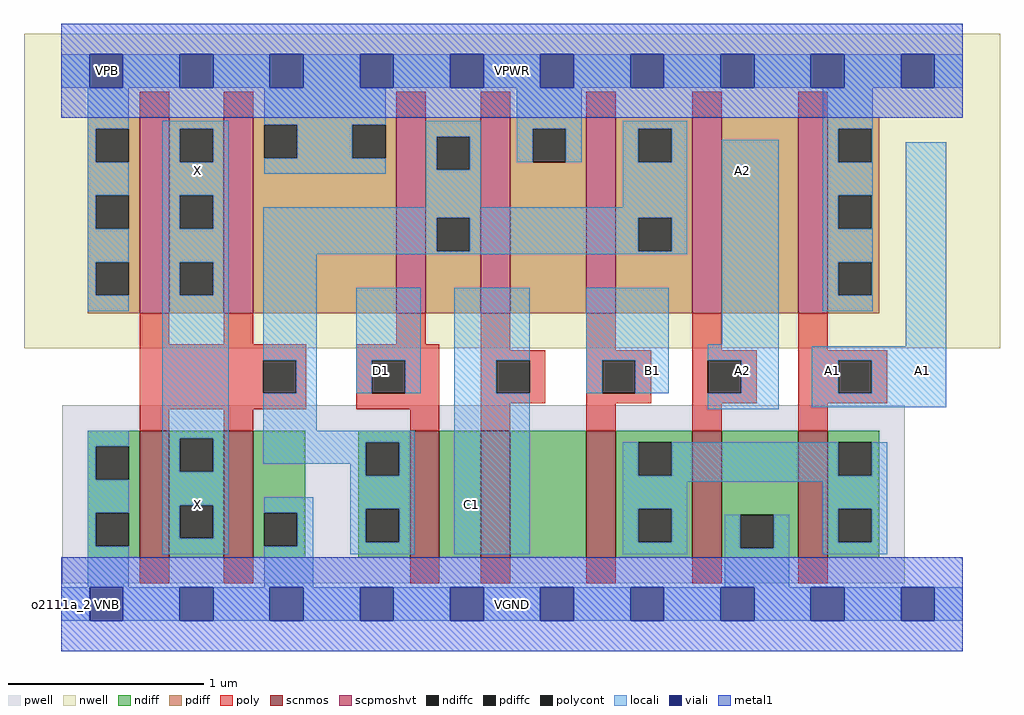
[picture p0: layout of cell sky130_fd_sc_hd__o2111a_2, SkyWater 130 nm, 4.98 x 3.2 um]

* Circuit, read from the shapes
.subckt sky130_fd_sc_hd__o2111a_2 A1 A2 B1 C1 D1 VGND VNB VPB VPWR X
XM1 X n1 VGND VNB sky130_fd_pr__nfet_01v8 w=0.65 l=0.15 m=2
XM2 n2 D1 n1 VNB sky130_fd_pr__nfet_01v8 w=0.65 l=0.15
XM3 n3 C1 n2 VNB sky130_fd_pr__nfet_01v8 w=0.65 l=0.15
XM4 n4 B1 n3 VNB sky130_fd_pr__nfet_01v8 w=0.65 l=0.15
XM5 VGND A2 n4 VNB sky130_fd_pr__nfet_01v8 w=0.65 l=0.15
XM6 n4 A1 VGND VNB sky130_fd_pr__nfet_01v8 w=0.65 l=0.15
XM7 X n1 VPWR VPB sky130_fd_pr__pfet_01v8_hvt w=1 l=0.15 m=2
XM8 n1 D1 VPWR VPB sky130_fd_pr__pfet_01v8_hvt w=1 l=0.15
XM9 VPWR C1 n1 VPB sky130_fd_pr__pfet_01v8_hvt w=1 l=0.15
XM10 n1 B1 VPWR VPB sky130_fd_pr__pfet_01v8_hvt w=1 l=0.15
XM11 n5 A2 n1 VPB sky130_fd_pr__pfet_01v8_hvt w=1 l=0.15
XM12 VPWR A1 n5 VPB sky130_fd_pr__pfet_01v8_hvt w=1 l=0.15
.ends

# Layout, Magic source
magic
tech sky130A
magscale 1 2
<< nwell >>
rect -38 261 958 582
<< pwell >>
rect 1 21 861 203
rect 30 -17 64 21
<< scnmos >>
rect 80 47 110 177
rect 166 47 196 177
rect 356 47 386 177
rect 428 47 458 177
rect 536 47 566 177
rect 644 47 674 177
rect 752 47 782 177
<< scpmoshvt >>
rect 80 297 110 497
rect 166 297 196 497
rect 342 297 372 497
rect 428 297 458 497
rect 536 297 566 497
rect 644 297 674 497
rect 752 297 782 497
<< ndiff >>
rect 27 161 80 177
rect 27 127 35 161
rect 69 127 80 161
rect 27 93 80 127
rect 27 59 35 93
rect 69 59 80 93
rect 27 47 80 59
rect 110 169 166 177
rect 110 135 121 169
rect 155 135 166 169
rect 110 101 166 135
rect 110 67 121 101
rect 155 67 166 101
rect 110 47 166 67
rect 196 93 249 177
rect 196 59 207 93
rect 241 59 249 93
rect 196 47 249 59
rect 303 165 356 177
rect 303 131 311 165
rect 345 131 356 165
rect 303 97 356 131
rect 303 63 311 97
rect 345 63 356 97
rect 303 47 356 63
rect 386 47 428 177
rect 458 47 536 177
rect 566 165 644 177
rect 566 131 589 165
rect 623 131 644 165
rect 566 97 644 131
rect 566 63 589 97
rect 623 63 644 97
rect 566 47 644 63
rect 674 91 752 177
rect 674 57 693 91
rect 727 57 752 91
rect 674 47 752 57
rect 782 165 835 177
rect 782 131 793 165
rect 827 131 835 165
rect 782 97 835 131
rect 782 63 793 97
rect 827 63 835 97
rect 782 47 835 63
<< pdiff >>
rect 27 485 80 497
rect 27 451 35 485
rect 69 451 80 485
rect 27 417 80 451
rect 27 383 35 417
rect 69 383 80 417
rect 27 349 80 383
rect 27 315 35 349
rect 69 315 80 349
rect 27 297 80 315
rect 110 485 166 497
rect 110 451 121 485
rect 155 451 166 485
rect 110 417 166 451
rect 110 383 121 417
rect 155 383 166 417
rect 110 349 166 383
rect 110 315 121 349
rect 155 315 166 349
rect 110 297 166 315
rect 196 489 342 497
rect 196 455 207 489
rect 241 455 297 489
rect 331 455 342 489
rect 196 297 342 455
rect 372 477 428 497
rect 372 443 383 477
rect 417 443 428 477
rect 372 394 428 443
rect 372 360 383 394
rect 417 360 428 394
rect 372 297 428 360
rect 458 485 536 497
rect 458 451 481 485
rect 515 451 536 485
rect 458 297 536 451
rect 566 485 644 497
rect 566 451 589 485
rect 623 451 644 485
rect 566 394 644 451
rect 566 360 589 394
rect 623 360 644 394
rect 566 297 644 360
rect 674 297 752 497
rect 782 485 835 497
rect 782 451 793 485
rect 827 451 835 485
rect 782 417 835 451
rect 782 383 793 417
rect 827 383 835 417
rect 782 349 835 383
rect 782 315 793 349
rect 827 315 835 349
rect 782 297 835 315
<< ndiffc >>
rect 35 127 69 161
rect 35 59 69 93
rect 121 135 155 169
rect 121 67 155 101
rect 207 59 241 93
rect 311 131 345 165
rect 311 63 345 97
rect 589 131 623 165
rect 589 63 623 97
rect 693 57 727 91
rect 793 131 827 165
rect 793 63 827 97
<< pdiffc >>
rect 35 451 69 485
rect 35 383 69 417
rect 35 315 69 349
rect 121 451 155 485
rect 121 383 155 417
rect 121 315 155 349
rect 207 455 241 489
rect 297 455 331 489
rect 383 443 417 477
rect 383 360 417 394
rect 481 451 515 485
rect 589 451 623 485
rect 589 360 623 394
rect 793 451 827 485
rect 793 383 827 417
rect 793 315 827 349
<< poly >>
rect 80 497 110 523
rect 166 497 196 523
rect 342 497 372 523
rect 428 497 458 523
rect 536 497 566 523
rect 644 497 674 523
rect 752 497 782 523
rect 80 265 110 297
rect 166 265 196 297
rect 342 265 372 297
rect 80 249 250 265
rect 80 215 206 249
rect 240 215 250 249
rect 80 199 250 215
rect 301 249 386 265
rect 301 215 317 249
rect 351 215 386 249
rect 301 199 386 215
rect 80 177 110 199
rect 166 177 196 199
rect 356 177 386 199
rect 428 259 458 297
rect 536 259 566 297
rect 644 259 674 297
rect 752 259 782 297
rect 428 249 494 259
rect 428 215 444 249
rect 478 215 494 249
rect 428 205 494 215
rect 536 249 602 259
rect 536 215 552 249
rect 586 215 602 249
rect 536 205 602 215
rect 644 249 710 259
rect 644 215 660 249
rect 694 215 710 249
rect 644 205 710 215
rect 752 249 843 259
rect 752 215 793 249
rect 827 215 843 249
rect 752 205 843 215
rect 428 177 458 205
rect 536 177 566 205
rect 644 177 674 205
rect 752 177 782 205
rect 80 21 110 47
rect 166 21 196 47
rect 356 21 386 47
rect 428 21 458 47
rect 536 21 566 47
rect 644 21 674 47
rect 752 21 782 47
<< polycont >>
rect 206 215 240 249
rect 317 215 351 249
rect 444 215 478 249
rect 552 215 586 249
rect 660 215 694 249
rect 793 215 827 249
<< locali >>
rect 0 527 29 561
rect 63 527 121 561
rect 155 527 213 561
rect 247 527 305 561
rect 339 527 397 561
rect 431 527 489 561
rect 523 527 581 561
rect 615 527 673 561
rect 707 527 765 561
rect 799 527 857 561
rect 891 527 920 561
rect 27 485 69 527
rect 27 451 35 485
rect 27 417 69 451
rect 27 383 35 417
rect 27 349 69 383
rect 27 315 35 349
rect 27 299 69 315
rect 103 485 171 493
rect 103 451 121 485
rect 155 451 171 485
rect 103 417 171 451
rect 207 489 331 527
rect 241 455 297 489
rect 207 439 331 455
rect 372 477 428 493
rect 372 443 383 477
rect 417 443 428 477
rect 465 485 531 527
rect 465 451 481 485
rect 515 451 531 485
rect 573 485 639 493
rect 573 451 589 485
rect 623 451 639 485
rect 777 485 828 527
rect 103 383 121 417
rect 155 383 171 417
rect 372 405 428 443
rect 573 405 639 451
rect 103 349 171 383
rect 103 315 121 349
rect 155 315 171 349
rect 27 161 69 177
rect 27 127 35 161
rect 27 93 69 127
rect 27 59 35 93
rect 27 17 69 59
rect 103 169 171 315
rect 103 135 121 169
rect 155 135 171 169
rect 206 394 639 405
rect 206 360 383 394
rect 417 360 589 394
rect 623 360 639 394
rect 206 357 639 360
rect 206 249 261 357
rect 240 215 261 249
rect 301 249 367 323
rect 301 215 317 249
rect 351 215 367 249
rect 401 249 478 323
rect 401 215 444 249
rect 536 249 620 323
rect 674 265 732 474
rect 777 451 793 485
rect 827 451 828 485
rect 777 417 828 451
rect 777 383 793 417
rect 827 383 828 417
rect 777 349 828 383
rect 777 315 793 349
rect 827 315 828 349
rect 777 299 828 315
rect 536 215 552 249
rect 586 215 620 249
rect 660 249 732 265
rect 862 263 903 471
rect 694 215 732 249
rect 206 177 261 215
rect 206 165 361 177
rect 206 143 311 165
rect 103 101 171 135
rect 295 131 311 143
rect 345 131 361 165
rect 103 67 121 101
rect 155 67 171 101
rect 103 51 171 67
rect 207 93 257 109
rect 241 59 257 93
rect 207 17 257 59
rect 295 97 361 131
rect 295 63 311 97
rect 345 63 361 97
rect 295 51 361 63
rect 401 51 478 215
rect 660 199 732 215
rect 766 249 903 263
rect 766 215 793 249
rect 827 215 903 249
rect 766 201 903 215
rect 573 131 589 165
rect 623 131 793 165
rect 827 131 843 165
rect 573 125 843 131
rect 573 97 639 125
rect 573 63 589 97
rect 623 63 639 97
rect 777 97 843 125
rect 573 51 639 63
rect 677 57 693 91
rect 727 57 743 91
rect 677 17 743 57
rect 777 63 793 97
rect 827 63 843 97
rect 777 51 843 63
rect 0 -17 29 17
rect 63 -17 121 17
rect 155 -17 213 17
rect 247 -17 305 17
rect 339 -17 397 17
rect 431 -17 489 17
rect 523 -17 581 17
rect 615 -17 673 17
rect 707 -17 765 17
rect 799 -17 857 17
rect 891 -17 920 17
<< viali >>
rect 29 527 63 561
rect 121 527 155 561
rect 213 527 247 561
rect 305 527 339 561
rect 397 527 431 561
rect 489 527 523 561
rect 581 527 615 561
rect 673 527 707 561
rect 765 527 799 561
rect 857 527 891 561
rect 29 -17 63 17
rect 121 -17 155 17
rect 213 -17 247 17
rect 305 -17 339 17
rect 397 -17 431 17
rect 489 -17 523 17
rect 581 -17 615 17
rect 673 -17 707 17
rect 765 -17 799 17
rect 857 -17 891 17
<< metal1 >>
rect 0 561 920 592
rect 0 527 29 561
rect 63 527 121 561
rect 155 527 213 561
rect 247 527 305 561
rect 339 527 397 561
rect 431 527 489 561
rect 523 527 581 561
rect 615 527 673 561
rect 707 527 765 561
rect 799 527 857 561
rect 891 527 920 561
rect 0 496 920 527
rect 0 17 920 48
rect 0 -17 29 17
rect 63 -17 121 17
rect 155 -17 213 17
rect 247 -17 305 17
rect 339 -17 397 17
rect 431 -17 489 17
rect 523 -17 581 17
rect 615 -17 673 17
rect 707 -17 765 17
rect 799 -17 857 17
rect 891 -17 920 17
rect 0 -48 920 -17
<< labels >>
flabel locali s 310 221 344 255 0 FreeSans 340 0 0 0 D1
port 5 nsew signal input
flabel locali s 402 85 436 119 0 FreeSans 340 0 0 0 C1
port 4 nsew signal input
flabel locali s 678 425 712 459 0 FreeSans 340 0 0 0 A2
port 2 nsew signal input
flabel locali s 678 221 712 255 0 FreeSans 340 0 0 0 A2
port 2 nsew signal input
flabel locali s 770 221 804 255 0 FreeSans 340 0 0 0 A1
port 1 nsew signal input
flabel locali s 586 221 620 255 0 FreeSans 340 0 0 0 B1
port 3 nsew signal input
flabel locali s 122 425 156 459 0 FreeSans 340 0 0 0 X
port 10 nsew signal output
flabel locali s 122 85 156 119 0 FreeSans 340 0 0 0 X
port 10 nsew signal output
flabel locali s 862 221 896 255 0 FreeSans 340 0 0 0 A1
port 1 nsew signal input
flabel nwell s 30 527 64 561 0 FreeSans 200 0 0 0 VPB
port 8 nsew power bidirectional
flabel pwell s 30 -17 64 17 0 FreeSans 200 0 0 0 VNB
port 7 nsew ground bidirectional
flabel metal1 s 30 -17 64 17 0 FreeSans 200 0 0 0 VGND
port 6 nsew ground bidirectional abutment
flabel metal1 s 30 527 64 561 0 FreeSans 200 0 0 0 VPWR
port 9 nsew power bidirectional abutment
rlabel comment s 0 0 0 0 4 o2111a_2
rlabel metal1 s 0 -48 920 48 1 VGND
port 6 nsew ground bidirectional abutment
rlabel metal1 s 0 496 920 592 1 VPWR
port 9 nsew power bidirectional abutment
<< properties >>
string FIXED_BBOX 0 0 920 544
string GDS_END 867364
string GDS_FILE $PDKPATH/libs.ref/sky130_fd_sc_hd/gds/sky130_fd_sc_hd.gds
string GDS_START 859256
string LEFclass CORE
string LEFsite unithd
string LEFsymmetry X Y R90
string path 0.000 0.000 4.600 0.000 
<< end >>
